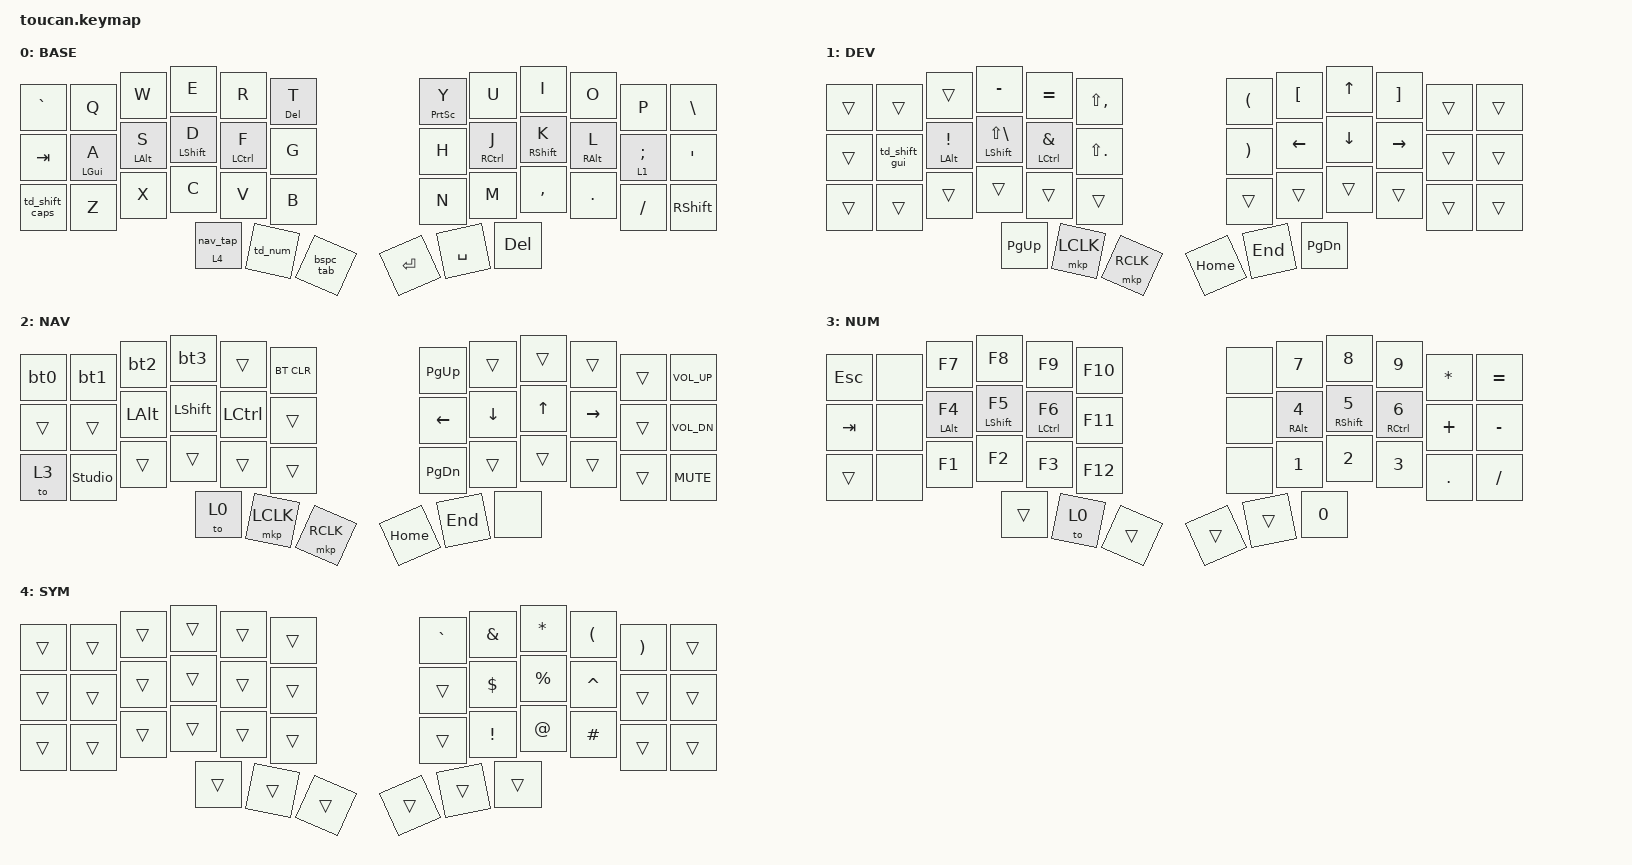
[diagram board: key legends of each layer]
#include <behaviors.dtsi>
#include <dt-bindings/zmk/keys.h>
#include <dt-bindings/zmk/bt.h>
#include <dt-bindings/zmk/outputs.h>
#include <dt-bindings/zmk/pointing.h>

#define BASE 0
#define NAV  1
#define SYM  2
#define ADJ  3

/ {
    behaviors {
        bspc_tab: bspc_tab {
            compatible = "zmk,behavior-mod-morph";
            #binding-cells = <0>;
            bindings = <&kp BSPC>, <&kp TAB>;
            mods = <(MOD_LALT|MOD_RALT|MOD_LCTL|MOD_RCTL)>;
            keep-mods = <(MOD_LALT|MOD_RALT)>;
        };

        mt: mod_tap {
            compatible = "zmk,behavior-hold-tap";
            #binding-cells = <2>;
            flavor = "tap-preferred";
            tapping-term-ms = <280>;
            quick-tap-ms = <175>;
            require-prior-idle-ms = <150>;
            bindings = <&kp>, <&kp>;
        };

        mt_fast: mod_tap_fast {
            compatible = "zmk,behavior-hold-tap";
            #binding-cells = <2>;
            flavor = "tap-preferred";
            tapping-term-ms = <150>;
            quick-tap-ms = <100>;
            require-prior-idle-ms = <0>;
            bindings = <&kp>, <&kp>;
        };

        bt0: bt0 {
            compatible = "zmk,behavior-tap-dance";
            #binding-cells = <0>;
            tapping-term-ms = <200>;
            bindings = <&bt0_sel>, <&bt0_clr>;
        };

        bt1: bt1 {
            compatible = "zmk,behavior-tap-dance";
            #binding-cells = <0>;
            tapping-term-ms = <200>;
            bindings = <&bt1_sel>, <&bt1_clr>;
        };

        bt2: bt2 {
            compatible = "zmk,behavior-tap-dance";
            #binding-cells = <0>;
            tapping-term-ms = <200>;
            bindings = <&bt2_sel>, <&bt2_clr>;
        };

        bt3: bt3 {
            compatible = "zmk,behavior-tap-dance";
            #binding-cells = <0>;
            tapping-term-ms = <200>;
            bindings = <&bt3_sel>, <&bt3_clr>;
        };

        td_shift_caps: td_shift_caps {
            compatible = "zmk,behavior-tap-dance";
            #binding-cells = <0>;
            tapping-term-ms = <200>;
            bindings = <&kp LSHFT>, <&kp CAPS>;
        };

        td_shift_gui: td_shift_gui {
            compatible = "zmk,behavior-tap-dance";
            #binding-cells = <0>;
            tapping-term-ms = <200>;
            bindings = <&kp LSHFT>, <&kp LGUI>;
        };

        td_nav: td_nav {
            compatible = "zmk,behavior-tap-dance";
            #binding-cells = <0>;
            tapping-term-ms = <200>;
            bindings = <&mo 2>, <&to 2>;
        };

        td_num: td_num {
            compatible = "zmk,behavior-tap-dance";
            #binding-cells = <0>;
            tapping-term-ms = <200>;
            bindings = <&mo 3>, <&to 3>;
        };

        sym_nav: sym_nav {
            compatible = "zmk,behavior-hold-tap";
            #binding-cells = <2>;
            flavor = "tap-preferred";
            tapping-term-ms = <200>;
            bindings = <&mo>, <&nav_tap>;
        };
    };

    macros {
        nav_tap: nav_tap {
            compatible = "zmk,behavior-macro-one-param";
            #binding-cells = <1>;
            wait-ms = <0>;
            tap-ms = <0>;
            bindings = <&td_nav>;
        };


        bt0_sel: bt0_sel {
            compatible = "zmk,behavior-macro";
            #binding-cells = <0>;
            bindings = <&bt BT_SEL 0>;
        };
        
        bt0_clr: bt0_clr {
            compatible = "zmk,behavior-macro";
            #binding-cells = <0>;
            bindings = <&bt BT_SEL 0>, <&bt BT_CLR>;
        };

        bt1_sel: bt1_sel {
            compatible = "zmk,behavior-macro";
            #binding-cells = <0>;
            bindings = <&bt BT_SEL 1>;
        };
        
        bt1_clr: bt1_clr {
            compatible = "zmk,behavior-macro";
            #binding-cells = <0>;
            bindings = <&bt BT_SEL 1>, <&bt BT_CLR>;
        };

        bt2_sel: bt2_sel {
            compatible = "zmk,behavior-macro";
            #binding-cells = <0>;
            bindings = <&bt BT_SEL 2>;
        };
        
        bt2_clr: bt2_clr {
            compatible = "zmk,behavior-macro";
            #binding-cells = <0>;
            bindings = <&bt BT_SEL 2>, <&bt BT_CLR>;
        };

        bt3_sel: bt3_sel {
            compatible = "zmk,behavior-macro";
            #binding-cells = <0>;
            bindings = <&bt BT_SEL 3>;
        };
        
        bt3_clr: bt3_clr {
            compatible = "zmk,behavior-macro";
            #binding-cells = <0>;
            bindings = <&bt BT_SEL 3>, <&bt BT_CLR>;
        };
    };

    // Combos use key-positions = 0-based slot index in each layer's bindings (same order as
    // boards/shields/toucan/toucan.dtsi default_transform). BASE row 2: 14 S, 15 D, ... 19 J, 20 K, 21 L.
    // Row 3: 24 caps, 25 Z, 26 X, 27 C, ...
    combos {
        compatible = "zmk,combos";

//        combo_sd_tab {
//            timeout-ms = <50>;
//            key-positions = <14 15>;
//            bindings = <&kp TAB>;
//            layers = <0>;
//        };

//        combo_jk_fslh {
//            timeout-ms = <50>;
//            key-positions = <19 20>;
//            bindings = <&kp FSLH>;
//            layers = <0>;
//        };

//        combo_kl_bslh {
//            timeout-ms = <50>;
//            key-positions = <20 21>;
//            bindings = <&kp BSLH>;
//            layers = <0>;
//        };

        combo_xc_copy {
            timeout-ms = <50>;
            key-positions = <26 27>;
            bindings = <&kp LC(C)>;
            layers = <0>;
        };

        combo_cv_paste {
            timeout-ms = <50>;
            key-positions = <27 28>;
            bindings = <&kp LC(V)>;
            layers = <0>;
        };

        combo_xv_cut {
            timeout-ms = <50>;
            key-positions = <26 28>;
            bindings = <&kp LC(X)>;
            layers = <0>;
        };

        combo_pb_esc {
            timeout-ms = <50>;
            key-positions = <10 11>;
            bindings = <&kp ESC>;
            layers = <0>;
        };

        combo_gq_esc {
            timeout-ms = <50>;
            key-positions = <0 1>;
            bindings = <&kp ESC>;
            layers = <0>;
        };
    };

    keymap {
        compatible = "zmk,keymap";

        layer_0 {
            display-name = "BASE";
            bindings = <
                &kp GRAVE     &kp Q                  &kp W                  &kp E                  &kp R                  &mt DEL T                &mt PSCRN Y            &kp U                  &kp I                  &kp O                  &kp P                 &kp BSLH
                &kp TAB                &mt LGUI A             &mt LALT S             &mt LSHFT D            &mt LCTRL F            &kp G                    &kp H                  &mt RCTRL J            &mt RSHFT K            &mt RALT L             &lt 1 SEMI            &kp SQT
                &td_shift_caps         &kp Z                  &kp X                  &kp C                  &kp V                  &kp B                    &kp N                  &kp M                  &kp COMMA              &kp DOT                &kp FSLH              &kp RSHFT
                &sym_nav 4 0           &td_num                &bspc_tab              &kp RET                &kp SPACE              &kp DEL
            >;
        };

        layer_1 {
            display-name = "DEV";
            bindings = <
                &trans                 &trans                 &trans                 &kp MINUS              &kp EQUAL              &kp LS(COMMA)            &kp LPAR               &kp LBKT               &kp UP                 &kp RBKT               &trans                 &trans
                &trans                 &td_shift_gui          &mt LALT EXCL          &mt LSHFT LS(BSLH)     &mt LCTRL AMPS         &kp LS(DOT)              &kp RPAR               &kp LEFT               &kp DOWN               &kp RIGHT              &trans                 &trans
                &trans                 &trans                 &trans                 &trans                 &trans                 &trans                   &trans                 &trans                 &trans                 &trans                 &trans                 &trans
                &kp PG_UP              &mkp LCLK              &mkp RCLK              &kp HOME               &kp END                &kp PG_DN
            >;
        };

        layer_2 {
            display-name = "NAV";
            bindings = <
                &bt0                   &bt1                   &bt2                   &bt3                   &trans                 &bt BT_CLR               &kp PG_UP              &trans                 &trans                 &trans                 &trans                 &kp C_VOL_UP
                &trans                 &trans                 &kp LALT               &kp LSHFT              &kp LCTRL              &trans                   &kp LEFT               &kp DOWN               &kp UP                 &kp RIGHT              &trans                 &kp C_VOL_DN
                &to 3                  &studio_unlock         &trans                 &trans                 &trans                 &trans                   &kp PG_DN              &trans                 &trans                 &trans                 &trans                 &kp C_MUTE
                &to 0                  &mkp LCLK              &mkp RCLK              &kp HOME               &kp END                &none
            >;
        };

        layer_3 {
            display-name = "NUM";
            bindings = <
                &kp ESC                &none                 &kp F7                 &kp F8                 &kp F9                 &kp F10                  &none               &kp N7                 &kp N8                 &kp N9                 &kp STAR               &kp EQUAL
                &kp TAB                &none                 &mt LALT F4            &mt LSHFT F5           &mt LCTRL F6           &kp F11                  &none               &mt RALT N4            &mt RSHFT N5           &mt RCTRL N6           &kp PLUS                &kp MINUS
                &trans                 &none                 &kp F1                 &kp F2                 &kp F3                 &kp F12                  &none               &kp N1                 &kp N2                 &kp N3                 &kp DOT                &kp FSLH
                &trans                 &to 0                  &trans                 &trans                 &trans                 &kp N0
            >;
        };

        layer_4 {
            display-name = "SYM";
            bindings = <
                &trans                 &trans                 &trans                 &trans                 &trans                 &trans                   &kp GRAVE              &kp AMPS               &kp STAR               &kp LPAR               &kp RPAR                 &trans
                &trans                 &trans                 &trans                 &trans                 &trans                 &trans                   &trans                 &kp DLLR               &kp PRCNT              &kp CARET              &trans                 &trans
                &trans                 &trans                 &trans                 &trans                 &trans                 &trans                   &trans                 &kp EXCL               &kp AT                 &kp HASH               &trans                 &trans
                &trans                 &trans                 &trans                   &trans                 &trans                 &trans 
            >;
        };
    };
};
